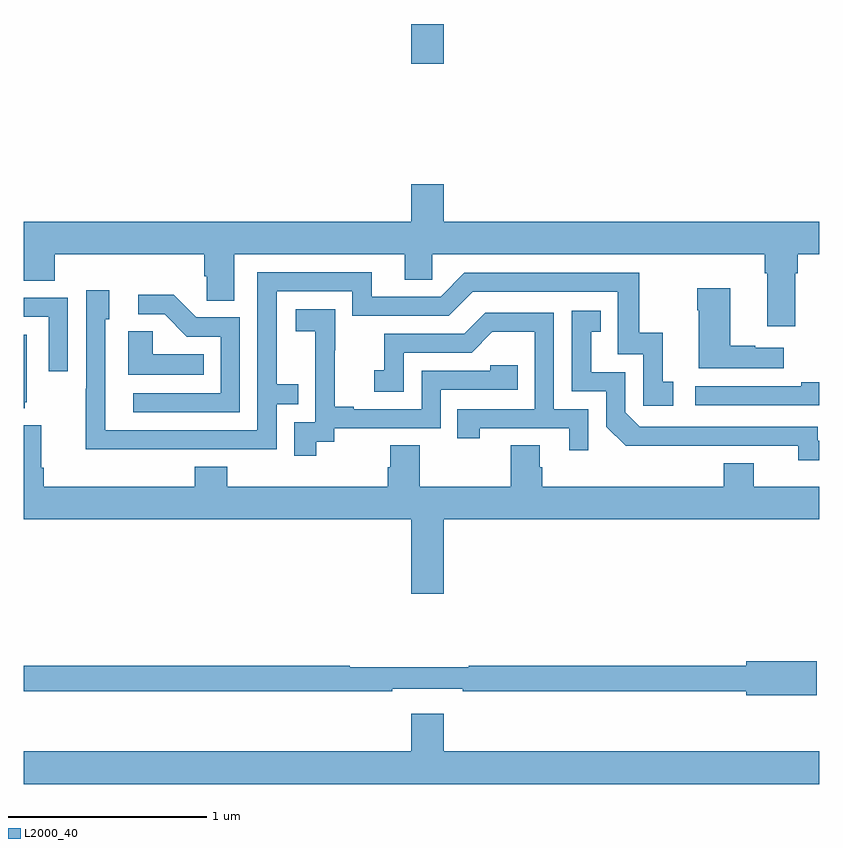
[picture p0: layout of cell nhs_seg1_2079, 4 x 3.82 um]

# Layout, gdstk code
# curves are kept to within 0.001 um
import gdstk
lib = gdstk.Library(unit=1e-6, precision=1e-09)
def R(c, l, rs):  # rectangles x0, y0, x1, y1
    for r in rs: c.add(gdstk.rectangle(r[:2], r[2:], *l))
def P(c, l, *ps):  # polygons
    for p in ps: c.add(gdstk.Polygon(p, *l))
L2000_40 = (2000, 40)

nhs_seg1_2079 = lib.new_cell('nhs_seg1_2079')
R(nhs_seg1_2079, L2000_40, [(224.948,577.998,225.112,578.199)])
P(nhs_seg1_2079, L2000_40, [(226.879,576.944),(226.892,576.944),(226.892,577.04),(227,577.04),(227,577.204),(225.112,577.204),(225.112,577.393),(224.948,577.393),(224.948,577.204),(223,577.204),(223,576.907),(223.154,576.907),(223.154,577.04),(223.907,577.04),(223.907,576.931),(223.92,576.931),(223.92,576.808),(224.059,576.808),(224.059,577.04),(224.915,577.04),(224.915,576.913),(225.054,576.913),(225.054,577.04),(226.727,577.04),(226.727,576.944),(226.739,576.944),(226.739,576.678),(226.879,576.678)],
  [(223.775,576.06),(224.271,576.06),(224.271,576.285),(224.381,576.285),(224.381,576.386),(224.271,576.386),(224.271,576.855),(224.652,576.855),(224.652,576.732),(225.138,576.732),(225.258,576.852),(225.987,576.852),(225.987,576.537),(226.116,576.537),(226.116,576.279),(226.267,576.279),(226.267,576.399),(226.214,576.399),(226.214,576.646),(226.096,576.646),(226.096,576.948),(225.216,576.948),(225.096,576.828),(224.749,576.828),(224.749,576.951),(224.175,576.951),(224.175,576.156),(223.41,576.156),(223.41,576.714),(223.429,576.714),(223.429,576.859),(223.314,576.859),(223.314,576.365),(223.312,576.365),(223.312,576.059)],
  [(226.822,576.571),(226.679,576.571),(226.679,576.581),(226.552,576.581),(226.552,576.871),(226.387,576.871),(226.387,576.758),(226.394,576.758),(226.394,576.467),(226.822,576.467)],
  [(224.085,576.723),(223.866,576.723),(223.753,576.836),(223.575,576.836),(223.575,576.738),(223.709,576.738),(223.82,576.627),(223.989,576.627),(223.989,576.342),(223.551,576.342),(223.551,576.246),(224.085,576.246)],
  [(223.221,576.822),(223,576.822),(223,576.726),(223.125,576.726),(223.125,576.453),(223.221,576.453)],
  [(224.47,576.097),(224.562,576.097),(224.562,576.165),(225.096,576.165),(225.096,576.36),(225.485,576.36),(225.485,576.483),(225.345,576.483),(225.345,576.456),(225,576.456),(225,576.261),(224.659,576.261),(224.659,576.274),(224.564,576.274),(224.564,576.557),(224.565,576.557),(224.565,576.763),(224.367,576.763),(224.367,576.653),(224.465,576.653),(224.465,576.425),(224.466,576.425),(224.466,576.195),(224.361,576.195),(224.361,576.027),(224.47,576.027)],
  [(227,576.102),(226.992,576.102),(226.992,576.174),(226.098,576.174),(226.026,576.246),(226.026,576.447),(225.853,576.447),(225.853,576.651),(225.902,576.651),(225.902,576.757),(225.756,576.757),(225.756,576.351),(225.93,576.351),(225.93,576.174),(226.028,576.077),(226.896,576.078),(226.896,576.005),(227,576.005)],
  [(225.84,576.261),(225.666,576.261),(225.666,576.747),(225.32,576.747),(225.215,576.642),(224.812,576.642),(224.812,576.457),(224.763,576.457),(224.763,576.348),(224.91,576.348),(224.91,576.546),(225.252,576.546),(225.356,576.65),(225.57,576.65),(225.57,576.261),(225.181,576.261),(225.181,576.114),(225.292,576.114),(225.292,576.165),(225.743,576.165),(225.743,576.054),(225.84,576.054)],
  [(223.904,576.538),(223.647,576.538),(223.647,576.653),(223.526,576.653),(223.526,576.434),(223.904,576.434)],
  [(223.004,576.297),(223.015,576.297),(223.015,576.637),(223,576.637),(223,576.266),(223.004,576.266)],
  [(227,576.398),(226.909,576.398),(226.909,576.378),(226.377,576.378),(226.377,576.282),(227,576.282)],
  [(225.112,575.708),(227,575.708),(227,575.872),(226.672,575.872),(226.672,575.989),(226.52,575.989),(226.52,575.872),(225.608,575.872),(225.608,575.97),(225.595,575.97),(225.595,576.08),(225.448,576.08),(225.448,575.872),(224.991,575.872),(224.991,576.08),(224.843,576.08),(224.843,575.97),(224.831,575.97),(224.831,575.872),(224.024,575.872),(224.024,575.971),(223.859,575.971),(223.859,575.872),(223.1,575.872),(223.1,575.968),(223.087,575.968),(223.087,576.181),(223,576.181),(223,575.708),(224.948,575.708),(224.948,575.334),(225.112,575.334)],
  [(226.987,574.994),(226.634,574.994),(226.634,574.97),(225.238,574.97),(225.238,574.963),(224.638,574.963),(224.638,574.97),(223,574.97),(223,574.842),(224.852,574.842),(224.852,574.854),(225.208,574.854),(225.208,574.842),(226.634,574.842),(226.634,574.823),(226.987,574.823)],
  [(227,574.54),(225.112,574.54),(225.112,574.729),(224.948,574.729),(224.948,574.54),(223,574.54),(223,574.376),(227,574.376)])

lib.write_gds('nhs_seg1_2079.gds')
